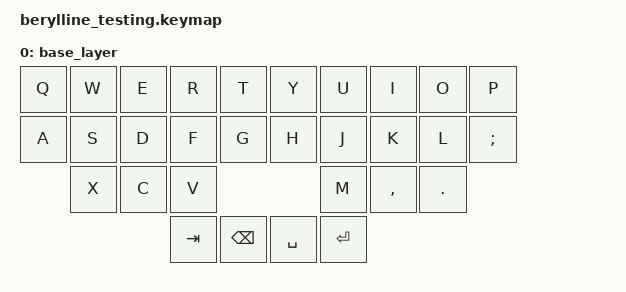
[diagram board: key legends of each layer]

/*
 * Copyright (c) 2021 The ZMK Contributors
 *
 * SPDX-License-Identifier: MIT
 */

#include <behaviors.dtsi>
#include <dt-bindings/zmk/keys.h>

/ {

	keymap {
		compatible = "zmk,keymap";

		// This is a sample keymap meant for verifying your keyboard is working. Please replaced with your own.
		base_layer {
			bindings = <
				&kp Q     &kp W     &kp E     &kp R     &kp T     &kp Y     &kp U     &kp I     &kp O     &kp P
				&kp A     &kp S     &kp D     &kp F     &kp G     &kp H     &kp J     &kp K     &kp L     &kp SEMI
				          &kp X     &kp C     &kp V                         &kp M     &kp COMMA &kp DOT
				                              &kp TAB   &kp BSPC  &kp SPACE &kp ENTER
			>;
		};

	};
};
